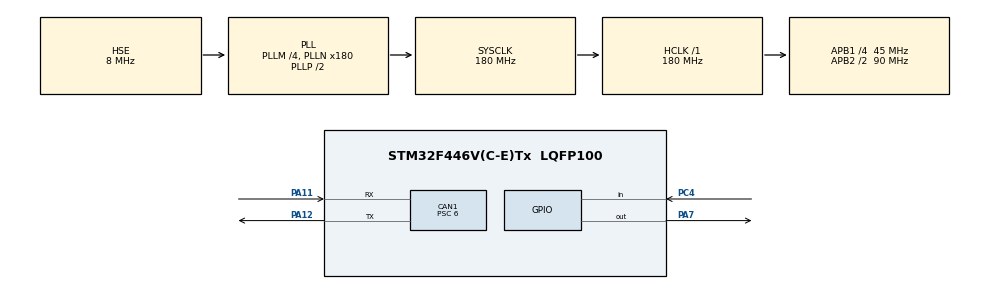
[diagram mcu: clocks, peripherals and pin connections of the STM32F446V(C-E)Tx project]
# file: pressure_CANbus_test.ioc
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CAN1.BS1=CAN_BS1_12TQ
CAN1.BS2=CAN_BS2_2TQ
CAN1.CalculateTimeBit=1999
CAN1.CalculateTimeQuantum=133.33333333333331
CAN1.Prescaler=6
CAN1.SJW=CAN_SJW_4TQ
Mcu.Family=STM32F4
Mcu.Name=STM32F446V(C-E)Tx
Mcu.Package=LQFP100
NVIC.CAN1_RX0_IRQn=true\:0\:0\:false\:false\:true\:true
NVIC.PriorityGroup=NVIC_PRIORITYGROUP_4
PA11.Mode=Master
PA11.Signal=CAN1_RX
PA12.Mode=Master
PA12.Signal=CAN1_TX
PA13.Mode=Serial_Wire
PA13.Signal=SYS_JTMS-SWDIO
PA14.Mode=Serial_Wire
PA14.Signal=SYS_JTCK-SWCLK
PA7.Signal=GPIO_Output
PC4.Signal=GPIO_Input
PH0-OSC_IN.Mode=HSE-External-Oscillator
PH0-OSC_IN.Signal=RCC_OSC_IN
PH1-OSC_OUT.Mode=HSE-External-Oscillator
PH1-OSC_OUT.Signal=RCC_OSC_OUT
ProjectManager.HeapSize=0x200
ProjectManager.StackSize=0x400
ProjectManager.TargetToolchain=TrueSTUDIO
RCC.AHBFreq_Value=180000000
RCC.APB1CLKDivider=RCC_HCLK_DIV4
RCC.APB1Freq_Value=45000000
RCC.APB1TimFreq_Value=90000000
RCC.APB2CLKDivider=RCC_HCLK_DIV2
RCC.APB2Freq_Value=90000000
RCC.APB2TimFreq_Value=180000000
RCC.CortexFreq_Value=180000000
RCC.HCLKFreq_Value=180000000
RCC.HSE_VALUE=8000000
RCC.PLLM=4
RCC.PLLN=180
RCC.PLLSourceVirtual=RCC_PLLSOURCE_HSE
RCC.SYSCLKFreq_VALUE=180000000
RCC.SYSCLKSource=RCC_SYSCLKSOURCE_PLLCLK
RCC.USBFreq_Value=180000000
RCC.VCOOutputFreq_Value=360000000
board=PARSEC_Pressure

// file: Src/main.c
/**
  ******************************************************************************
  * File Name          : main.c
  * Description        : Main program body
  ******************************************************************************
  ** This notice applies to any and all portions of this file
  * that are not between comment pairs USER CODE BEGIN and
  * USER CODE END. Other portions of this file, whether
  * inserted by the user or by software development tools
  * are owned by their respective copyright owners.
  *
  * COPYRIGHT(c) 2019 STMicroelectronics
  *
  * Redistribution and use in source and binary forms, with or without modification,
  * are permitted provided that the following conditions are met:
  *   1. Redistributions of source code must retain the above copyright notice,
  *      this list of conditions and the following disclaimer.
  *   2. Redistributions in binary form must reproduce the above copyright notice,
  *      this list of conditions and the following disclaimer in the documentation
  *      and/or other materials provided with the distribution.
  *   3. Neither the name of STMicroelectronics nor the names of its contributors
  *      may be used to endorse or promote products derived from this software
  *      without specific prior written permission.
  *
  * THIS SOFTWARE IS PROVIDED BY THE COPYRIGHT HOLDERS AND CONTRIBUTORS "AS IS"
  * AND ANY EXPRESS OR IMPLIED WARRANTIES, INCLUDING, BUT NOT LIMITED TO, THE
  * IMPLIED WARRANTIES OF MERCHANTABILITY AND FITNESS FOR A PARTICULAR PURPOSE ARE
  * DISCLAIMED. IN NO EVENT SHALL THE COPYRIGHT HOLDER OR CONTRIBUTORS BE LIABLE
  * FOR ANY DIRECT, INDIRECT, INCIDENTAL, SPECIAL, EXEMPLARY, OR CONSEQUENTIAL
  * DAMAGES (INCLUDING, BUT NOT LIMITED TO, PROCUREMENT OF SUBSTITUTE GOODS OR
  * SERVICES; LOSS OF USE, DATA, OR PROFITS; OR BUSINESS INTERRUPTION) HOWEVER
  * CAUSED AND ON ANY THEORY OF LIABILITY, WHETHER IN CONTRACT, STRICT LIABILITY,
  * OR TORT (INCLUDING NEGLIGENCE OR OTHERWISE) ARISING IN ANY WAY OUT OF THE USE
  * OF THIS SOFTWARE, EVEN IF ADVISED OF THE POSSIBILITY OF SUCH DAMAGE.
  *
  ******************************************************************************
  */
#include "main.h"
#include "stm32f4xx_hal.h"
#include "can.h"
#include "gpio.h"

/* USER CODE BEGIN PV */
/* Private variables ---------------------------------------------------------*/

// Variable indicating whether to turn the LED on or off
uint8_t ledState = 0;	// initialize to off state

// Structs for containing CAN message information
CanRxMsgTypeDef myRxMessage;
CanTxMsgTypeDef myTxMessage;

/* USER CODE END PV */

void SystemClock_Config(void);

/* USER CODE BEGIN PFP */
/* Private function prototypes -----------------------------------------------*/

/* USER CODE END PFP */

int main(void)
{

  /* MCU Configuration----------------------------------------------------------*/

  /* Reset of all peripherals, Initializes the Flash interface and the Systick. */
  HAL_Init();

  /* Configure the system clock */
  SystemClock_Config();

  /* USER CODE BEGIN SysInit */
  __HAL_RCC_CAN1_CLK_ENABLE();	// Enable CAN1 Clock
  /* USER CODE END SysInit */

  /* Initialize all configured peripherals */
  MX_GPIO_Init();
  MX_CAN1_Init();

  /* USER CODE BEGIN 2 */

  // Configure CAN hardware filters
  CAN_filterConfig();

  // Add our message structs to the CAN instance
  // (the CAN handle hcan1 is a global variable from can.h)
  hcan1.pTxMsg = &myTxMessage;
  hcan1.pRxMsg = &myRxMessage;

  // Start listening for CAN traffic on interrupt
  HAL_CAN_Receive_IT(&hcan1, CAN_FIFO0);

  // Set transmission parameters.
  hcan1.pTxMsg->IDE = CAN_ID_STD;	// Standard 11-bit ID
  hcan1.pTxMsg->StdId = OWN_CAN_ID;	// CAN ID for 0th port on pressure board
  hcan1.pTxMsg->RTR = CAN_RTR_DATA;	// Set RTR but for data frame (not a request frame)
  hcan1.pTxMsg->DLC = 2;			// Number of data bytes in the frame.

  /* USER CODE END 2 */

  /* Infinite loop */
  while (1)
  {

  /* USER CODE BEGIN 3 */
	  if (HAL_GPIO_ReadPin(GPIOC, GPIO_PIN_4) == GPIO_PIN_SET) // if button is pressed
	  {
		  HAL_GPIO_WritePin(GPIOA, GPIO_PIN_7, ledState);	// Update LED based on ledState.
		  ledState = ~ledState;					// Toggle ledState.
		  hcan1.pTxMsg->Data[0] = ledState;		// Tx new LED state over CAN
		  hcan1.pTxMsg->Data[1] = 0b10101010;	// along with a dummy byte.
		  HAL_CAN_Transmit(&hcan1, 20);			// Do the actual transmission (timeout after 20ms)
		  HAL_Delay(200);						// Wait 200 ms.
	  }
  /* USER CODE END 3 */
  }
}

/** System Clock Configuration
*/
void SystemClock_Config(void)
{

  RCC_OscInitTypeDef RCC_OscInitStruct;
  RCC_ClkInitTypeDef RCC_ClkInitStruct;

    /**Configure the main internal regulator output voltage
    */
  __HAL_RCC_PWR_CLK_ENABLE();

  __HAL_PWR_VOLTAGESCALING_CONFIG(PWR_REGULATOR_VOLTAGE_SCALE1);

    /**Initializes the CPU, AHB and APB busses clocks
    */
  RCC_OscInitStruct.OscillatorType = RCC_OSCILLATORTYPE_HSE;
  RCC_OscInitStruct.HSEState = RCC_HSE_ON;
  RCC_OscInitStruct.PLL.PLLState = RCC_PLL_ON;
  RCC_OscInitStruct.PLL.PLLSource = RCC_PLLSOURCE_HSE;
  RCC_OscInitStruct.PLL.PLLM = 4;
  RCC_OscInitStruct.PLL.PLLN = 180;
  RCC_OscInitStruct.PLL.PLLP = RCC_PLLP_DIV2;
  RCC_OscInitStruct.PLL.PLLQ = 2;
  RCC_OscInitStruct.PLL.PLLR = 2;
  if (HAL_RCC_OscConfig(&RCC_OscInitStruct) != HAL_OK)
  {
    _Error_Handler(__FILE__, __LINE__);
  }

    /**Activate the Over-Drive mode
    */
  if (HAL_PWREx_EnableOverDrive() != HAL_OK)
  {
    _Error_Handler(__FILE__, __LINE__);
  }

    /**Initializes the CPU, AHB and APB busses clocks
    */
  RCC_ClkInitStruct.ClockType = RCC_CLOCKTYPE_HCLK|RCC_CLOCKTYPE_SYSCLK
                              |RCC_CLOCKTYPE_PCLK1|RCC_CLOCKTYPE_PCLK2;
  RCC_ClkInitStruct.SYSCLKSource = RCC_SYSCLKSOURCE_PLLCLK;
  RCC_ClkInitStruct.AHBCLKDivider = RCC_SYSCLK_DIV1;
  RCC_ClkInitStruct.APB1CLKDivider = RCC_HCLK_DIV4;
  RCC_ClkInitStruct.APB2CLKDivider = RCC_HCLK_DIV2;

  if (HAL_RCC_ClockConfig(&RCC_ClkInitStruct, FLASH_LATENCY_5) != HAL_OK)
  {
    _Error_Handler(__FILE__, __LINE__);
  }

    /**Configure the Systick interrupt time
    */
  HAL_SYSTICK_Config(HAL_RCC_GetHCLKFreq()/1000);

    /**Configure the Systick
    */
  HAL_SYSTICK_CLKSourceConfig(SYSTICK_CLKSOURCE_HCLK);

  /* SysTick_IRQn interrupt configuration */
  HAL_NVIC_SetPriority(SysTick_IRQn, 0, 0);
}

/* USER CODE BEGIN 4 */

// This function is executed upon complete reception of a CAN message.
void HAL_CAN_RxCpltCallback(CAN_HandleTypeDef* hcan)
{
	// Set ledState to the 1st byte of the tx'd data.
	ledState = hcan->pRxMsg->Data[0];
	HAL_GPIO_WritePin(GPIOA, GPIO_PIN_7, ledState);

	// Start listening for the next CAN message
	HAL_CAN_Receive_IT(&hcan1, CAN_FIFO0);
}

/* USER CODE END 4 */

void _Error_Handler(char * file, int line)
{
  while(1)
  {
  }
}

/************************ (C) COPYRIGHT STMicroelectronics *****END OF FILE****/
